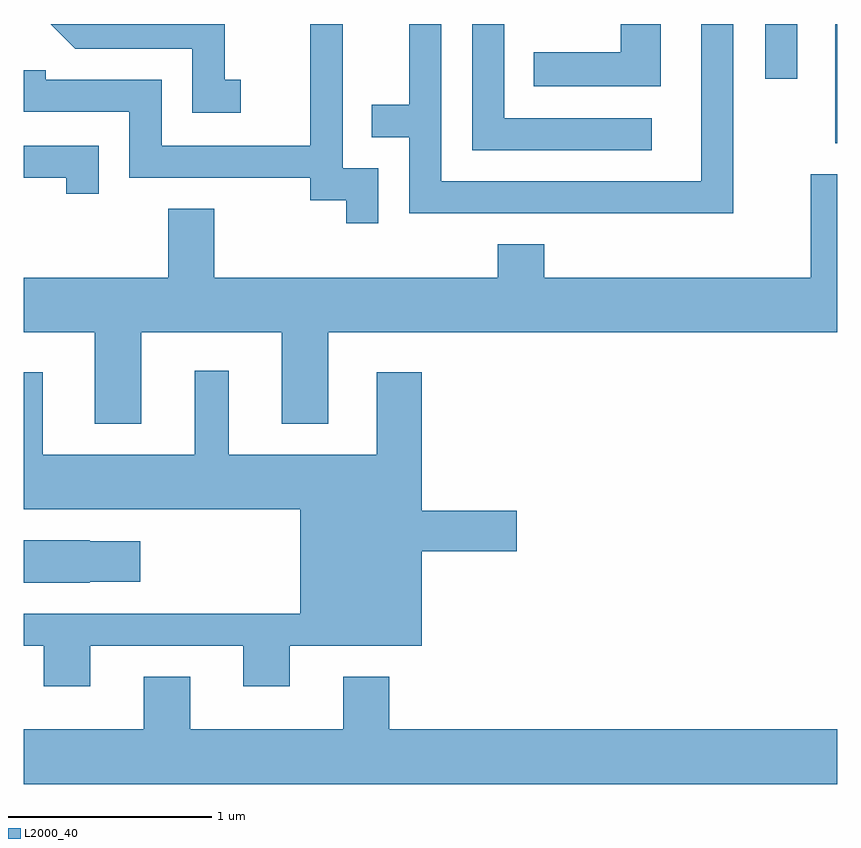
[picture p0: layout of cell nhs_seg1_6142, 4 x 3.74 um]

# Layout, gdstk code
import gdstk
lib = gdstk.Library(unit=1e-6, precision=1e-09)
def R(c, l, rs):  # rectangles x0, y0, x1, y1
    for r in rs: c.add(gdstk.rectangle(r[:2], r[2:], *l))
def P(c, l, *ps):  # polygons
    for p in ps: c.add(gdstk.Polygon(p, *l))
L2000_40 = (2000, 40)

nhs_seg1_6142 = lib.new_cell('nhs_seg1_6142')
R(nhs_seg1_6142, L2000_40, [(373.601,947.126,373.611,947.712), (373.256,947.443,373.414,947.712)])
P(nhs_seg1_6142, L2000_40, [(373.099,947.712),(372.941,947.712),(372.941,946.939),(371.664,946.939),(371.664,947.712),(371.506,947.712),(371.506,947.314),(371.323,947.314),(371.323,947.156),(371.506,947.156),(371.506,946.781),(373.099,946.781)],
  [(372.744,947.712),(372.546,947.712),(372.546,947.574),(372.118,947.574),(372.118,947.406),(372.744,947.406)],
  [(370.678,947.439),(370.599,947.439),(370.599,947.712),(369.743,947.712),(369.864,947.591),(370.441,947.591),(370.441,947.276),(370.678,947.276)],
  [(372.698,947.249),(371.974,947.249),(371.974,947.712),(371.816,947.712),(371.816,947.091),(372.698,947.091)],
  [(371.354,947.004),(371.179,947.004),(371.179,947.712),(371.021,947.712),(371.021,947.114),(370.289,947.114),(370.289,947.439),(369.719,947.439),(369.719,947.484),(369.611,947.484),(369.611,947.281),(370.131,947.281),(370.131,946.956),(371.021,946.956),(371.021,946.846),(371.196,946.846),(371.196,946.733),(371.354,946.733)],
  [(369.979,947.114),(369.611,947.114),(369.611,946.956),(369.821,946.956),(369.821,946.878),(369.979,946.878)],
  [(370.189,946.196),(370.881,946.196),(370.881,945.746),(371.109,945.746),(371.109,946.196),(373.611,946.196),(373.611,946.974),(373.481,946.974),(373.481,946.464),(372.169,946.464),(372.169,946.629),(371.941,946.629),(371.941,946.464),(370.549,946.464),(370.549,946.804),(370.321,946.804),(370.321,946.464),(369.611,946.464),(369.611,946.196),(369.961,946.196),(369.961,945.746),(370.189,945.746)],
  [(369.939,944.656),(370.691,944.656),(370.691,944.456),(370.919,944.456),(370.919,944.656),(371.569,944.656),(371.569,945.121),(372.034,945.121),(372.034,945.319),(371.569,945.319),(371.569,945.999),(371.346,945.999),(371.346,945.594),(370.619,945.594),(370.619,946.008),(370.451,946.008),(370.451,945.594),(369.704,945.594),(369.704,945.999),(369.611,945.999),(369.611,945.326),(370.971,945.326),(370.971,944.814),(369.611,944.814),(369.611,944.656),(369.711,944.656),(369.711,944.456),(369.939,944.456)],
  [(369.935,944.971),(370.184,944.971),(370.184,945.169),(369.935,945.169),(369.935,945.174),(369.611,945.174),(369.611,944.966),(369.935,944.966)],
  [(373.611,944.244),(371.409,944.244),(371.409,944.504),(371.181,944.504),(371.181,944.244),(370.429,944.244),(370.429,944.504),(370.201,944.504),(370.201,944.244),(369.611,944.244),(369.611,943.976),(373.611,943.976)])

lib.write_gds('nhs_seg1_6142.gds')
